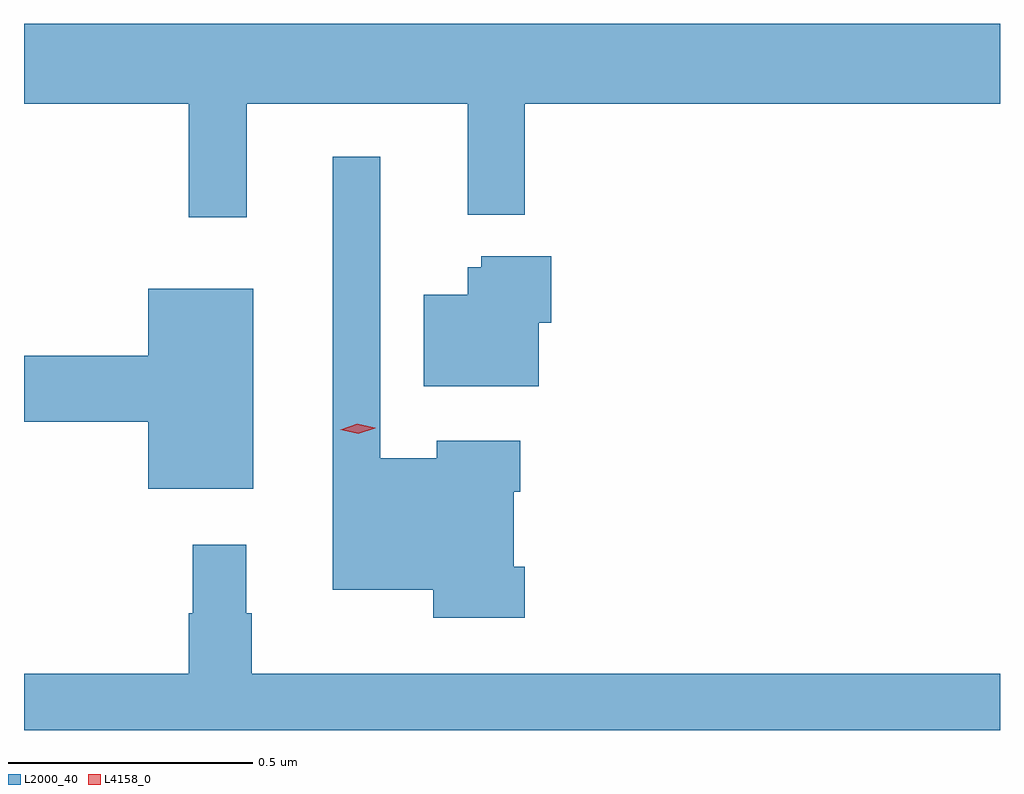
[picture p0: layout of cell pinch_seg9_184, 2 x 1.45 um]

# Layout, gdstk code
import gdstk
lib = gdstk.Library(unit=1e-6, precision=1e-09)
def P(c, l, *ps):  # polygons
    for p in ps: c.add(gdstk.Polygon(p, *l))
L2000_40 = (2000, 40)
L4158_0 = (4158, 0)

pinch_seg9_184 = lib.new_cell('pinch_seg9_184')
P(pinch_seg9_184, L2000_40, [(831.335,1165.784),(831.788,1165.784),(831.788,1165.556),(831.905,1165.556),(831.905,1165.784),(832.879,1165.784),(832.879,1165.948),(830.879,1165.948),(830.879,1165.784),(831.217,1165.784),(831.217,1165.551),(831.335,1165.551)],
  [(831.905,1164.835),(831.883,1164.835),(831.883,1164.989),(831.896,1164.989),(831.896,1165.093),(831.725,1165.093),(831.725,1165.057),(831.609,1165.057),(831.609,1165.675),(831.512,1165.675),(831.512,1164.788),(831.718,1164.788),(831.718,1164.731),(831.905,1164.731)],
  [(831.934,1165.335),(831.959,1165.335),(831.959,1165.471),(831.816,1165.471),(831.816,1165.449),(831.788,1165.449),(831.788,1165.393),(831.698,1165.393),(831.698,1165.205),(831.934,1165.205)],
  [(831.349,1165.405),(831.134,1165.405),(831.134,1165.268),(830.879,1165.268),(830.879,1165.132),(831.134,1165.132),(831.134,1164.995),(831.349,1164.995)],
  [(831.225,1164.88),(831.225,1164.74),(831.217,1164.74),(831.217,1164.616),(830.879,1164.616),(830.879,1164.5),(832.879,1164.5),(832.879,1164.616),(831.346,1164.616),(831.346,1164.74),(831.334,1164.74),(831.334,1164.88)])
P(pinch_seg9_184, L4158_0, [(831.564,1165.108),(831.527,1165.116),(831.527,1165.116),(831.527,1165.116),(831.562,1165.128),(831.599,1165.12),(831.599,1165.12),(831.599,1165.119)])

lib.write_gds('pinch_seg9_184.gds')
